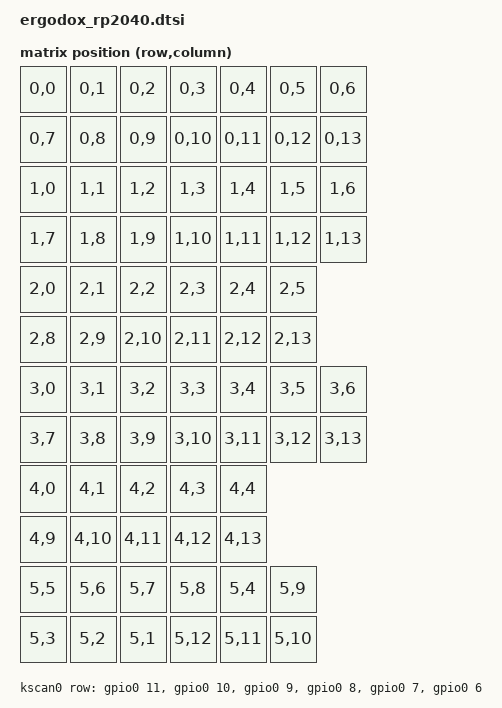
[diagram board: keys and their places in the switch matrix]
/*
 * Copyright (c) 2026 The ErgoDox RP2040 contributors
 * SPDX-License-Identifier: MIT
 *
 * Shared by all four images. Left and right differ only in column order
 * and the LINK power hogs. UART pins live in the RP2040 board overlay so
 * this file does not claim GPIO0 or GPIO1 a second time.
 *
 * Columns are the outputs. They idle high and the scanned column is driven
 * low. Rows are inputs with pull-ups, so a press reads low. Diode cathodes
 * face the columns. That is col2row with GPIO_ACTIVE_LOW, which is the
 * opposite flag polarity of the ZMK kscan example.
 */

#include <dt-bindings/zmk/matrix_transform.h>
#include <zephyr/dt-bindings/gpio/gpio.h>

/ {
    chosen {
        zmk,kscan = &kscan0;
        zmk,physical-layout = &physical_layout0;
        zmk,ext-power = &ext_power;
    };

    wired_split: wired_split {
        compatible = "zmk,wired-split";
        device = <&uart0>;
    };

    /*
     * LED_ON is GPIO3, active high, with a board pulldown. Not a role hog:
     * both images use the same external-power switch, and underglow turns it
     * on only while RGB is on (CONFIG_ZMK_RGB_UNDERGLOW_ON_START=n).
     */
    ext_power: ext_power {
        compatible = "zmk,ext-power-generic";
        control-gpios = <&gpio0 3 GPIO_ACTIVE_HIGH>;
    };

    physical_layout0: physical_layout_0 {
        compatible = "zmk,physical-layout";
        display-name = "ErgoDox";
        kscan = <&kscan0>;
        transform = <&default_transform>;
    };

    /*
     * Global matrix is 6 rows by 14 columns. ZMK row 0 is the top number row
     * (schematic ROW5). ZMK row 5 is the thumb row (schematic ROW0).
     * RC(row, col) follows LAYOUT_ergodox_pretty argument order, with QMK's
     * transposed matrix: QMK's column index is this row, and QMK's row index
     * is this global column. Empty crossings ROW0/COL0 and ROW3/COL6 are
     * omitted.
     */
    default_transform: keymap_transform_0 {
        compatible = "zmk,matrix-transform";
        rows = <6>;
        columns = <14>;
        map = <
            RC(0,0) RC(0,1) RC(0,2) RC(0,3) RC(0,4) RC(0,5) RC(0,6)
            RC(0,7) RC(0,8) RC(0,9) RC(0,10) RC(0,11) RC(0,12) RC(0,13)
            RC(1,0) RC(1,1) RC(1,2) RC(1,3) RC(1,4) RC(1,5) RC(1,6)
            RC(1,7) RC(1,8) RC(1,9) RC(1,10) RC(1,11) RC(1,12) RC(1,13)
            RC(2,0) RC(2,1) RC(2,2) RC(2,3) RC(2,4) RC(2,5)
            RC(2,8) RC(2,9) RC(2,10) RC(2,11) RC(2,12) RC(2,13)
            RC(3,0) RC(3,1) RC(3,2) RC(3,3) RC(3,4) RC(3,5) RC(3,6)
            RC(3,7) RC(3,8) RC(3,9) RC(3,10) RC(3,11) RC(3,12) RC(3,13)
            RC(4,0) RC(4,1) RC(4,2) RC(4,3) RC(4,4)
            RC(4,9) RC(4,10) RC(4,11) RC(4,12) RC(4,13)
            RC(5,5) RC(5,6) RC(5,7) RC(5,8) RC(5,4) RC(5,9)
            RC(5,3) RC(5,2) RC(5,1) RC(5,12) RC(5,11) RC(5,10)
        >;
    };

    kscan0: kscan {
        compatible = "zmk,kscan-gpio-matrix";
        wakeup-source;
        diode-direction = "col2row";
        row-gpios
            = <&gpio0 11 (GPIO_ACTIVE_LOW | GPIO_PULL_UP)>
            , <&gpio0 10 (GPIO_ACTIVE_LOW | GPIO_PULL_UP)>
            , <&gpio0 9 (GPIO_ACTIVE_LOW | GPIO_PULL_UP)>
            , <&gpio0 8 (GPIO_ACTIVE_LOW | GPIO_PULL_UP)>
            , <&gpio0 7 (GPIO_ACTIVE_LOW | GPIO_PULL_UP)>
            , <&gpio0 6 (GPIO_ACTIVE_LOW | GPIO_PULL_UP)>
            ;
    };
};

/*
 * 1 Mbaud is a project choice. ZMK does not document a wired-split baud.
 * Both images use this node. Pinctrl stays on the Pico uart0_default,
 * restated in the board overlay (TX P0, RX P1, input-enable, no sleep state).
 */
&uart0 {
    status = "okay";
    current-speed = <1000000>;
};

/*
 * GPIO19 is the left/right strap: left is pulled to GND, right to +3V3.
 * No internal bias. This hog does not select the ZMK role or the side.
 * The flashed image does. SPI0 is disabled so it cannot claim this pin.
 */
&gpio0 {
    board_id: board_id {
        gpio-hog;
        gpios = <19 GPIO_ACTIVE_HIGH>;
        input;
    };
};
